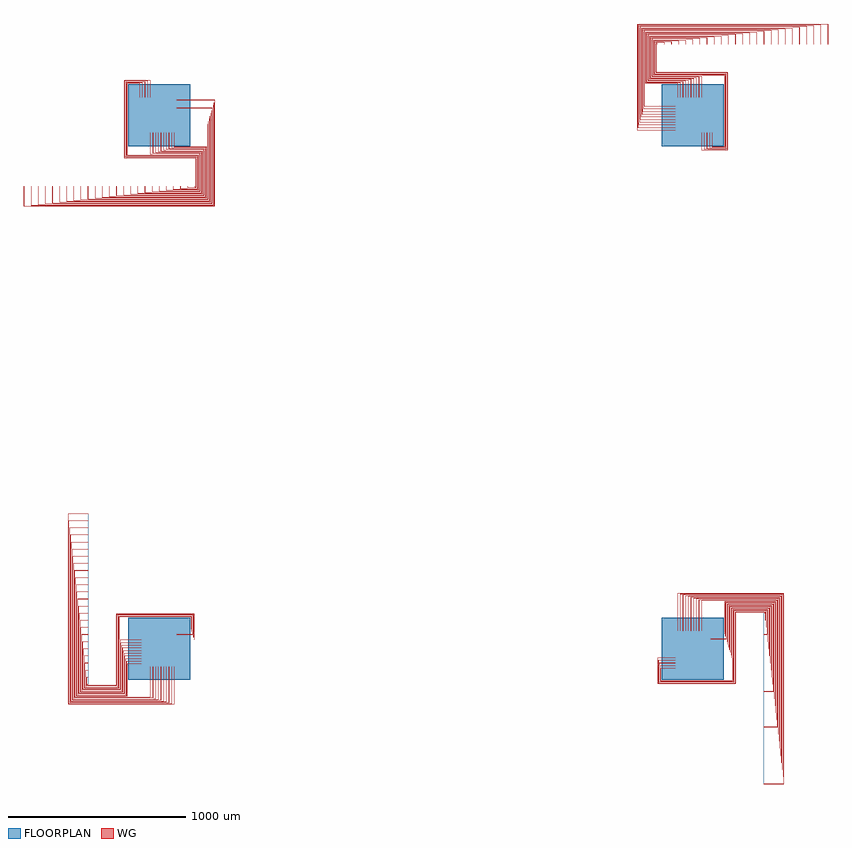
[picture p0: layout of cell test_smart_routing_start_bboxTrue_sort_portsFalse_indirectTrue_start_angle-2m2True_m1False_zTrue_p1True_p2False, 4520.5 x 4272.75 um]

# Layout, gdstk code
import gdstk
lib = gdstk.Library(unit=1e-6, precision=1e-09)
def R(c, l, rs):  # rectangles x0, y0, x1, y1
    for r in rs: c.add(gdstk.rectangle(r[:2], r[2:], *l))
def P(c, l, *ps):  # polygons
    for p in ps: c.add(gdstk.Polygon(p, *l))
WG = (1, 0)
FLOORPLAN = (10, 0)

test_smart_routing_start = lib.new_cell('test_smart_routing_start_bboxTrue_sort_portsFalse_indirectTrue_start_angle-2m2True_m1False_zTrue_p1True_p2False')
P(test_smart_routing_start, WG, [(3049.75,2802.5),(3049.75,2900),(3049.95,2900),(3049.95,2802.7),(3197.3,2802.7),(3197.3,3242.3),(2795.55,3242.3),(2795.55,3404.2),(2799.95,3404.2),(2799.95,3400),(2799.75,3400),(2799.75,3404),(2795.75,3404),(2795.75,3242.5),(3197.5,3242.5),(3197.5,2802.5)],
  [(3050.05,2802.8),(3050.05,2900),(3050.25,2900),(3050.25,2803),(3197,2803),(3197,3242),(2795.25,3242),(2795.25,3404.5),(2800.25,3404.5),(2800.25,3400),(2800.05,3400),(2800.05,3404.3),(2795.45,3404.3),(2795.45,3242.2),(3197.2,3242.2),(3197.2,2802.8)],
  [(3064.75,2807),(3064.75,2900),(3064.95,2900),(3064.95,2807.2),(3192.8,2807.2),(3192.8,3237.8),(2791.05,3237.8),(2791.05,3408.7),(2839.95,3408.7),(2839.95,3400),(2839.75,3400),(2839.75,3408.5),(2791.25,3408.5),(2791.25,3238),(3193,3238),(3193,2807)],
  [(3065.05,2807.3),(3065.05,2900),(3065.25,2900),(3065.25,2807.5),(3192.5,2807.5),(3192.5,3237.5),(2790.75,3237.5),(2790.75,3409),(2840.25,3409),(2840.25,3400),(2840.05,3400),(2840.05,3408.8),(2790.95,3408.8),(2790.95,3237.7),(3192.7,3237.7),(3192.7,2807.3)],
  [(3079.75,2811.5),(3079.75,2900),(3079.95,2900),(3079.95,2811.7),(3188.3,2811.7),(3188.3,3233.3),(2786.55,3233.3),(2786.55,3413.2),(2879.95,3413.2),(2879.95,3400),(2879.75,3400),(2879.75,3413),(2786.75,3413),(2786.75,3233.5),(3188.5,3233.5),(3188.5,2811.5)],
  [(3080.05,2811.8),(3080.05,2900),(3080.25,2900),(3080.25,2812),(3188,2812),(3188,3233),(2786.25,3233),(2786.25,3413.5),(2880.25,3413.5),(2880.25,3400),(2880.05,3400),(2880.05,3413.3),(2786.45,3413.3),(2786.45,3233.2),(3188.2,3233.2),(3188.2,2811.8)],
  [(3094.75,2816),(3094.75,2900),(3094.95,2900),(3094.95,2816.2),(3183.8,2816.2),(3183.8,3228.8),(2782.05,3228.8),(2782.05,3417.7),(2919.95,3417.7),(2919.95,3400),(2919.75,3400),(2919.75,3417.5),(2782.25,3417.5),(2782.25,3229),(3184,3229),(3184,2816)],
  [(3095.05,2816.3),(3095.05,2900),(3095.25,2900),(3095.25,2816.5),(3183.5,2816.5),(3183.5,3228.5),(2781.75,3228.5),(2781.75,3418),(2920.25,3418),(2920.25,3400),(2920.05,3400),(2920.05,3417.8),(2781.95,3417.8),(2781.95,3228.7),(3183.7,3228.7),(3183.7,2816.3)],
  [(3109.75,2820.5),(3109.75,2900),(3109.95,2900),(3109.95,2820.7),(3179.3,2820.7),(3179.3,3224.3),(2777.55,3224.3),(2777.55,3422.2),(2959.95,3422.2),(2959.95,3400),(2959.75,3400),(2959.75,3422),(2777.75,3422),(2777.75,3224.5),(3179.5,3224.5),(3179.5,2820.5)],
  [(3110.05,2820.8),(3110.05,2900),(3110.25,2900),(3110.25,2821),(3179,2821),(3179,3224),(2777.25,3224),(2777.25,3422.5),(2960.25,3422.5),(2960.25,3400),(2960.05,3400),(2960.05,3422.3),(2777.45,3422.3),(2777.45,3224.2),(3179.2,3224.2),(3179.2,2820.8)],
  [(3050.05,3100),(3050.05,3219.8),(2773.05,3219.8),(2773.05,3426.7),(2999.95,3426.7),(2999.95,3400),(2999.75,3400),(2999.75,3426.5),(2773.25,3426.5),(2773.25,3220),(3050.25,3220),(3050.25,3100)],
  [(3049.75,3100),(3049.75,3219.5),(2772.75,3219.5),(2772.75,3427),(3000.25,3427),(3000.25,3400),(3000.05,3400),(3000.05,3426.8),(2772.95,3426.8),(2772.95,3219.7),(3049.95,3219.7),(3049.95,3100)],
  [(3035.05,3100),(3035.05,3215.3),(2768.55,3215.3),(2768.55,3431.2),(3039.95,3431.2),(3039.95,3400),(3039.75,3400),(3039.75,3431),(2768.75,3431),(2768.75,3215.5),(3035.25,3215.5),(3035.25,3100)],
  [(3034.75,3100),(3034.75,3215),(2768.25,3215),(2768.25,3431.5),(3040.25,3431.5),(3040.25,3400),(3040.05,3400),(3040.05,3431.3),(2768.45,3431.3),(2768.45,3215.2),(3034.95,3215.2),(3034.95,3100)],
  [(3020.05,3100),(3020.05,3210.8),(2764.05,3210.8),(2764.05,3435.7),(3079.95,3435.7),(3079.95,3400),(3079.75,3400),(3079.75,3435.5),(2764.25,3435.5),(2764.25,3211),(3020.25,3211),(3020.25,3100)],
  [(3019.75,3100),(3019.75,3210.5),(2763.75,3210.5),(2763.75,3436),(3080.25,3436),(3080.25,3400),(3080.05,3400),(3080.05,3435.8),(2763.95,3435.8),(2763.95,3210.7),(3019.95,3210.7),(3019.95,3100)],
  [(3005.05,3100),(3005.05,3206.3),(2759.55,3206.3),(2759.55,3440.2),(3119.95,3440.2),(3119.95,3400),(3119.75,3400),(3119.75,3440),(2759.75,3440),(2759.75,3206.5),(3005.25,3206.5),(3005.25,3100)],
  [(3004.75,3100),(3004.75,3206),(2759.25,3206),(2759.25,3440.5),(3120.25,3440.5),(3120.25,3400),(3120.05,3400),(3120.05,3440.3),(2759.45,3440.3),(2759.45,3206.2),(3004.95,3206.2),(3004.95,3100)],
  [(2990.05,3100),(2990.05,3201.8),(2755.05,3201.8),(2755.05,3444.7),(3159.95,3444.7),(3159.95,3400),(3159.75,3400),(3159.75,3444.5),(2755.25,3444.5),(2755.25,3202),(2990.25,3202),(2990.25,3100)],
  [(2989.75,3100),(2989.75,3201.5),(2754.75,3201.5),(2754.75,3445),(3160.25,3445),(3160.25,3400),(3160.05,3400),(3160.05,3444.8),(2754.95,3444.8),(2754.95,3201.7),(2989.95,3201.7),(2989.95,3100)],
  [(2975.05,3100),(2975.05,3197.3),(2750.55,3197.3),(2750.55,3449.2),(3199.95,3449.2),(3199.95,3400),(3199.75,3400),(3199.75,3449),(2750.75,3449),(2750.75,3197.5),(2975.25,3197.5),(2975.25,3100)],
  [(2974.75,3100),(2974.75,3197),(2750.25,3197),(2750.25,3449.5),(3200.25,3449.5),(3200.25,3400),(3200.05,3400),(3200.05,3449.3),(2750.45,3449.3),(2750.45,3197.2),(2974.95,3197.2),(2974.95,3100)],
  [(2960.05,3100),(2960.05,3192.8),(2746.05,3192.8),(2746.05,3453.7),(3239.95,3453.7),(3239.95,3400),(3239.75,3400),(3239.75,3453.5),(2746.25,3453.5),(2746.25,3193),(2960.25,3193),(2960.25,3100)],
  [(2959.75,3100),(2959.75,3192.5),(2745.75,3192.5),(2745.75,3454),(3240.25,3454),(3240.25,3400),(3240.05,3400),(3240.05,3453.8),(2745.95,3453.8),(2745.95,3192.7),(2959.95,3192.7),(2959.95,3100)],
  [(2945.05,3100),(2945.05,3188.3),(2741.55,3188.3),(2741.55,3458.2),(3279.95,3458.2),(3279.95,3400),(3279.75,3400),(3279.75,3458),(2741.75,3458),(2741.75,3188.5),(2945.25,3188.5),(2945.25,3100)],
  [(2944.75,3100),(2944.75,3188),(2741.25,3188),(2741.25,3458.5),(3280.25,3458.5),(3280.25,3400),(3280.05,3400),(3280.05,3458.3),(2741.45,3458.3),(2741.45,3188.2),(2944.95,3188.2),(2944.95,3100)],
  [(2930.05,3100),(2930.05,3183.8),(2737.05,3183.8),(2737.05,3462.7),(3319.95,3462.7),(3319.95,3400),(3319.75,3400),(3319.75,3462.5),(2737.25,3462.5),(2737.25,3184),(2930.25,3184),(2930.25,3100)],
  [(2929.75,3100),(2929.75,3183.5),(2736.75,3183.5),(2736.75,3463),(3320.25,3463),(3320.25,3400),(3320.05,3400),(3320.05,3462.8),(2736.95,3462.8),(2736.95,3183.7),(2929.95,3183.7),(2929.95,3100)],
  [(2915.05,3100),(2915.05,3179.3),(2732.55,3179.3),(2732.55,3467.2),(3359.95,3467.2),(3359.95,3400),(3359.75,3400),(3359.75,3467),(2732.75,3467),(2732.75,3179.5),(2915.25,3179.5),(2915.25,3100)],
  [(2914.75,3100),(2914.75,3179),(2732.25,3179),(2732.25,3467.5),(3360.25,3467.5),(3360.25,3400),(3360.05,3400),(3360.05,3467.3),(2732.45,3467.3),(2732.45,3179.2),(2914.95,3179.2),(2914.95,3100)],
  [(2728.05,3050.05),(2728.05,3471.7),(3399.95,3471.7),(3399.95,3400),(3399.75,3400),(3399.75,3471.5),(2728.25,3471.5),(2728.25,3050.25),(2900,3050.25),(2900,3050.05)],
  [(2727.75,3049.75),(2727.75,3472),(3400.25,3472),(3400.25,3400),(3400.05,3400),(3400.05,3471.8),(2727.95,3471.8),(2727.95,3049.95),(2900,3049.95),(2900,3049.75)],
  [(2723.55,3035.05),(2723.55,3476.2),(3439.95,3476.2),(3439.95,3400),(3439.75,3400),(3439.75,3476),(2723.75,3476),(2723.75,3035.25),(2900,3035.25),(2900,3035.05)],
  [(2723.25,3034.75),(2723.25,3476.5),(3440.25,3476.5),(3440.25,3400),(3440.05,3400),(3440.05,3476.3),(2723.45,3476.3),(2723.45,3034.95),(2900,3034.95),(2900,3034.75)],
  [(2719.05,3020.05),(2719.05,3480.7),(3479.95,3480.7),(3479.95,3400),(3479.75,3400),(3479.75,3480.5),(2719.25,3480.5),(2719.25,3020.25),(2900,3020.25),(2900,3020.05)],
  [(2718.75,3019.75),(2718.75,3481),(3480.25,3481),(3480.25,3400),(3480.05,3400),(3480.05,3480.8),(2718.95,3480.8),(2718.95,3019.95),(2900,3019.95),(2900,3019.75)],
  [(2714.55,3005.05),(2714.55,3485.2),(3519.95,3485.2),(3519.95,3400),(3519.75,3400),(3519.75,3485),(2714.75,3485),(2714.75,3005.25),(2900,3005.25),(2900,3005.05)],
  [(2714.25,3004.75),(2714.25,3485.5),(3520.25,3485.5),(3520.25,3400),(3520.05,3400),(3520.05,3485.3),(2714.45,3485.3),(2714.45,3004.95),(2900,3004.95),(2900,3004.75)],
  [(2710.05,2990.05),(2710.05,3489.7),(3559.95,3489.7),(3559.95,3400),(3559.75,3400),(3559.75,3489.5),(2710.25,3489.5),(2710.25,2990.25),(2900,2990.25),(2900,2990.05)],
  [(2709.75,2989.75),(2709.75,3490),(3560.25,3490),(3560.25,3400),(3560.05,3400),(3560.05,3489.8),(2709.95,3489.8),(2709.95,2989.95),(2900,2989.95),(2900,2989.75)],
  [(2705.55,2975.05),(2705.55,3494.2),(3599.95,3494.2),(3599.95,3400),(3599.75,3400),(3599.75,3494),(2705.75,3494),(2705.75,2975.25),(2900,2975.25),(2900,2975.05)],
  [(2705.25,2974.75),(2705.25,3494.5),(3600.25,3494.5),(3600.25,3400),(3600.05,3400),(3600.05,3494.3),(2705.45,3494.3),(2705.45,2974.95),(2900,2974.95),(2900,2974.75)],
  [(2701.05,2960.05),(2701.05,3498.7),(3639.95,3498.7),(3639.95,3400),(3639.75,3400),(3639.75,3498.5),(2701.25,3498.5),(2701.25,2960.25),(2900,2960.25),(2900,2960.05)],
  [(2700.75,2959.75),(2700.75,3499),(3640.25,3499),(3640.25,3400),(3640.05,3400),(3640.05,3498.8),(2700.95,3498.8),(2700.95,2959.95),(2900,2959.95),(2900,2959.75)],
  [(2696.55,2945.05),(2696.55,3503.2),(3679.95,3503.2),(3679.95,3400),(3679.75,3400),(3679.75,3503),(2696.75,3503),(2696.75,2945.25),(2900,2945.25),(2900,2945.05)],
  [(2696.25,2944.75),(2696.25,3503.5),(3680.25,3503.5),(3680.25,3400),(3680.05,3400),(3680.05,3503.3),(2696.45,3503.3),(2696.45,2944.95),(2900,2944.95),(2900,2944.75)],
  [(2692.05,2930.05),(2692.05,3507.7),(3719.95,3507.7),(3719.95,3400),(3719.75,3400),(3719.75,3507.5),(2692.25,3507.5),(2692.25,2930.25),(2900,2930.25),(2900,2930.05)],
  [(2691.75,2929.75),(2691.75,3508),(3720.25,3508),(3720.25,3400),(3720.05,3400),(3720.05,3507.8),(2691.95,3507.8),(2691.95,2929.95),(2900,2929.95),(2900,2929.75)],
  [(2687.55,2915.05),(2687.55,3512.2),(3759.95,3512.2),(3759.95,3400),(3759.75,3400),(3759.75,3512),(2687.75,3512),(2687.75,2915.25),(2900,2915.25),(2900,2915.05)],
  [(2687.25,2914.75),(2687.25,3512.5),(3760.25,3512.5),(3760.25,3400),(3760.05,3400),(3760.05,3512.3),(2687.45,3512.3),(2687.45,2914.95),(2900,2914.95),(2900,2914.75)],
  [(199.75,2595.5),(199.75,2600),(199.95,2600),(199.95,2595.7),(204.55,2595.7),(204.55,2757.8),(-197.2,2757.8),(-197.2,3197.2),(-50.05,3197.2),(-50.05,3100),(-50.25,3100),(-50.25,3197),(-197,3197),(-197,2758),(204.75,2758),(204.75,2595.5)],
  [(200.05,2595.8),(200.05,2600),(200.25,2600),(200.25,2596),(204.25,2596),(204.25,2757.5),(-197.5,2757.5),(-197.5,3197.5),(-49.75,3197.5),(-49.75,3100),(-49.95,3100),(-49.95,3197.3),(-197.3,3197.3),(-197.3,2757.7),(204.45,2757.7),(204.45,2595.8)],
  [(159.75,2591),(159.75,2600),(159.95,2600),(159.95,2591.2),(209.05,2591.2),(209.05,2762.3),(-192.7,2762.3),(-192.7,3192.7),(-65.05,3192.7),(-65.05,3100),(-65.25,3100),(-65.25,3192.5),(-192.5,3192.5),(-192.5,2762.5),(209.25,2762.5),(209.25,2591)],
  [(160.05,2591.3),(160.05,2600),(160.25,2600),(160.25,2591.5),(208.75,2591.5),(208.75,2762),(-193,2762),(-193,3193),(-64.75,3193),(-64.75,3100),(-64.95,3100),(-64.95,3192.8),(-192.8,3192.8),(-192.8,2762.2),(208.95,2762.2),(208.95,2591.3)],
  [(119.75,2586.5),(119.75,2600),(119.95,2600),(119.95,2586.7),(213.55,2586.7),(213.55,2766.8),(-188.2,2766.8),(-188.2,3188.2),(-80.05,3188.2),(-80.05,3100),(-80.25,3100),(-80.25,3188),(-188,3188),(-188,2767),(213.75,2767),(213.75,2586.5)],
  [(120.05,2586.8),(120.05,2600),(120.25,2600),(120.25,2587),(213.25,2587),(213.25,2766.5),(-188.5,2766.5),(-188.5,3188.5),(-79.75,3188.5),(-79.75,3100),(-79.95,3100),(-79.95,3188.3),(-188.3,3188.3),(-188.3,2766.7),(213.45,2766.7),(213.45,2586.8)],
  [(79.75,2582),(79.75,2600),(79.95,2600),(79.95,2582.2),(218.05,2582.2),(218.05,2771.3),(-183.7,2771.3),(-183.7,3183.7),(-95.05,3183.7),(-95.05,3100),(-95.25,3100),(-95.25,3183.5),(-183.5,3183.5),(-183.5,2771.5),(218.25,2771.5),(218.25,2582)],
  [(80.05,2582.3),(80.05,2600),(80.25,2600),(80.25,2582.5),(217.75,2582.5),(217.75,2771),(-184,2771),(-184,3184),(-94.75,3184),(-94.75,3100),(-94.95,3100),(-94.95,3183.8),(-183.8,3183.8),(-183.8,2771.2),(217.95,2771.2),(217.95,2582.3)],
  [(39.75,2577.5),(39.75,2600),(39.95,2600),(39.95,2577.7),(222.55,2577.7),(222.55,2775.8),(-179.2,2775.8),(-179.2,3179.2),(-110.05,3179.2),(-110.05,3100),(-110.25,3100),(-110.25,3179),(-179,3179),(-179,2776),(222.75,2776),(222.75,2577.5)],
  [(40.05,2577.8),(40.05,2600),(40.25,2600),(40.25,2578),(222.25,2578),(222.25,2775.5),(-179.5,2775.5),(-179.5,3179.5),(-109.75,3179.5),(-109.75,3100),(-109.95,3100),(-109.95,3179.3),(-179.3,3179.3),(-179.3,2775.7),(222.45,2775.7),(222.45,2577.8)],
  [(0.05,2573.3),(0.05,2600),(0.25,2600),(0.25,2573.5),(226.75,2573.5),(226.75,2780),(-50.25,2780),(-50.25,2900),(-50.05,2900),(-50.05,2780.2),(226.95,2780.2),(226.95,2573.3)],
  [(-0.25,2573),(-0.25,2600),(-0.05,2600),(-0.05,2573.2),(227.05,2573.2),(227.05,2780.3),(-49.95,2780.3),(-49.95,2900),(-49.75,2900),(-49.75,2780.5),(227.25,2780.5),(227.25,2573)],
  [(-39.95,2568.8),(-39.95,2600),(-39.75,2600),(-39.75,2569),(231.25,2569),(231.25,2784.5),(-35.25,2784.5),(-35.25,2900),(-35.05,2900),(-35.05,2784.7),(231.45,2784.7),(231.45,2568.8)],
  [(-40.25,2568.5),(-40.25,2600),(-40.05,2600),(-40.05,2568.7),(231.55,2568.7),(231.55,2784.8),(-34.95,2784.8),(-34.95,2900),(-34.75,2900),(-34.75,2785),(231.75,2785),(231.75,2568.5)],
  [(-79.95,2564.3),(-79.95,2600),(-79.75,2600),(-79.75,2564.5),(235.75,2564.5),(235.75,2789),(-20.25,2789),(-20.25,2900),(-20.05,2900),(-20.05,2789.2),(235.95,2789.2),(235.95,2564.3)],
  [(-80.25,2564),(-80.25,2600),(-80.05,2600),(-80.05,2564.2),(236.05,2564.2),(236.05,2789.3),(-19.95,2789.3),(-19.95,2900),(-19.75,2900),(-19.75,2789.5),(236.25,2789.5),(236.25,2564)],
  [(-119.95,2559.8),(-119.95,2600),(-119.75,2600),(-119.75,2560),(240.25,2560),(240.25,2793.5),(-5.25,2793.5),(-5.25,2900),(-5.05,2900),(-5.05,2793.7),(240.45,2793.7),(240.45,2559.8)],
  [(-120.25,2559.5),(-120.25,2600),(-120.05,2600),(-120.05,2559.7),(240.55,2559.7),(240.55,2793.8),(-4.95,2793.8),(-4.95,2900),(-4.75,2900),(-4.75,2794),(240.75,2794),(240.75,2559.5)],
  [(-159.95,2555.3),(-159.95,2600),(-159.75,2600),(-159.75,2555.5),(244.75,2555.5),(244.75,2798),(9.75,2798),(9.75,2900),(9.95,2900),(9.95,2798.2),(244.95,2798.2),(244.95,2555.3)],
  [(-160.25,2555),(-160.25,2600),(-160.05,2600),(-160.05,2555.2),(245.05,2555.2),(245.05,2798.3),(10.05,2798.3),(10.05,2900),(10.25,2900),(10.25,2798.5),(245.25,2798.5),(245.25,2555)],
  [(-199.95,2550.8),(-199.95,2600),(-199.75,2600),(-199.75,2551),(249.25,2551),(249.25,2802.5),(24.75,2802.5),(24.75,2900),(24.95,2900),(24.95,2802.7),(249.45,2802.7),(249.45,2550.8)],
  [(-200.25,2550.5),(-200.25,2600),(-200.05,2600),(-200.05,2550.7),(249.55,2550.7),(249.55,2802.8),(25.05,2802.8),(25.05,2900),(25.25,2900),(25.25,2803),(249.75,2803),(249.75,2550.5)],
  [(-239.95,2546.3),(-239.95,2600),(-239.75,2600),(-239.75,2546.5),(253.75,2546.5),(253.75,2807),(39.75,2807),(39.75,2900),(39.95,2900),(39.95,2807.2),(253.95,2807.2),(253.95,2546.3)],
  [(-240.25,2546),(-240.25,2600),(-240.05,2600),(-240.05,2546.2),(254.05,2546.2),(254.05,2807.3),(40.05,2807.3),(40.05,2900),(40.25,2900),(40.25,2807.5),(254.25,2807.5),(254.25,2546)],
  [(-279.95,2541.8),(-279.95,2600),(-279.75,2600),(-279.75,2542),(258.25,2542),(258.25,2811.5),(54.75,2811.5),(54.75,2900),(54.95,2900),(54.95,2811.7),(258.45,2811.7),(258.45,2541.8)],
  [(-280.25,2541.5),(-280.25,2600),(-280.05,2600),(-280.05,2541.7),(258.55,2541.7),(258.55,2811.8),(55.05,2811.8),(55.05,2900),(55.25,2900),(55.25,2812),(258.75,2812),(258.75,2541.5)],
  [(-319.95,2537.3),(-319.95,2600),(-319.75,2600),(-319.75,2537.5),(262.75,2537.5),(262.75,2816),(69.75,2816),(69.75,2900),(69.95,2900),(69.95,2816.2),(262.95,2816.2),(262.95,2537.3)],
  [(-320.25,2537),(-320.25,2600),(-320.05,2600),(-320.05,2537.2),(263.05,2537.2),(263.05,2816.3),(70.05,2816.3),(70.05,2900),(70.25,2900),(70.25,2816.5),(263.25,2816.5),(263.25,2537)],
  [(-359.95,2532.8),(-359.95,2600),(-359.75,2600),(-359.75,2533),(267.25,2533),(267.25,2820.5),(84.75,2820.5),(84.75,2900),(84.95,2900),(84.95,2820.7),(267.45,2820.7),(267.45,2532.8)],
  [(-360.25,2532.5),(-360.25,2600),(-360.05,2600),(-360.05,2532.7),(267.55,2532.7),(267.55,2820.8),(85.05,2820.8),(85.05,2900),(85.25,2900),(85.25,2821),(267.75,2821),(267.75,2532.5)],
  [(-399.95,2528.3),(-399.95,2600),(-399.75,2600),(-399.75,2528.5),(271.75,2528.5),(271.75,2949.75),(100,2949.75),(100,2949.95),(271.95,2949.95),(271.95,2528.3)],
  [(-400.25,2528),(-400.25,2600),(-400.05,2600),(-400.05,2528.2),(272.05,2528.2),(272.05,2950.05),(100,2950.05),(100,2950.25),(272.25,2950.25),(272.25,2528)],
  [(-439.95,2523.8),(-439.95,2600),(-439.75,2600),(-439.75,2524),(276.25,2524),(276.25,2964.75),(100,2964.75),(100,2964.95),(276.45,2964.95),(276.45,2523.8)],
  [(-440.25,2523.5),(-440.25,2600),(-440.05,2600),(-440.05,2523.7),(276.55,2523.7),(276.55,2965.05),(100,2965.05),(100,2965.25),(276.75,2965.25),(276.75,2523.5)],
  [(-479.95,2519.3),(-479.95,2600),(-479.75,2600),(-479.75,2519.5),(280.75,2519.5),(280.75,2979.75),(100,2979.75),(100,2979.95),(280.95,2979.95),(280.95,2519.3)],
  [(-480.25,2519),(-480.25,2600),(-480.05,2600),(-480.05,2519.2),(281.05,2519.2),(281.05,2980.05),(100,2980.05),(100,2980.25),(281.25,2980.25),(281.25,2519)],
  [(-519.95,2514.8),(-519.95,2600),(-519.75,2600),(-519.75,2515),(285.25,2515),(285.25,2994.75),(100,2994.75),(100,2994.95),(285.45,2994.95),(285.45,2514.8)],
  [(-520.25,2514.5),(-520.25,2600),(-520.05,2600),(-520.05,2514.7),(285.55,2514.7),(285.55,2995.05),(100,2995.05),(100,2995.25),(285.75,2995.25),(285.75,2514.5)],
  [(-559.95,2510.3),(-559.95,2600),(-559.75,2600),(-559.75,2510.5),(289.75,2510.5),(289.75,3009.75),(100,3009.75),(100,3009.95),(289.95,3009.95),(289.95,2510.3)],
  [(-560.25,2510),(-560.25,2600),(-560.05,2600),(-560.05,2510.2),(290.05,2510.2),(290.05,3010.05),(100,3010.05),(100,3010.25),(290.25,3010.25),(290.25,2510)],
  [(-599.95,2505.8),(-599.95,2600),(-599.75,2600),(-599.75,2506),(294.25,2506),(294.25,3024.75),(100,3024.75),(100,3024.95),(294.45,3024.95),(294.45,2505.8)],
  [(-600.25,2505.5),(-600.25,2600),(-600.05,2600),(-600.05,2505.7),(294.55,2505.7),(294.55,3025.05),(100,3025.05),(100,3025.25),(294.75,3025.25),(294.75,2505.5)],
  [(-639.95,2501.3),(-639.95,2600),(-639.75,2600),(-639.75,2501.5),(298.75,2501.5),(298.75,3039.75),(100,3039.75),(100,3039.95),(298.95,3039.95),(298.95,2501.3)],
  [(-640.25,2501),(-640.25,2600),(-640.05,2600),(-640.05,2501.2),(299.05,2501.2),(299.05,3040.05),(100,3040.05),(100,3040.25),(299.25,3040.25),(299.25,2501)],
  [(-679.95,2496.8),(-679.95,2600),(-679.75,2600),(-679.75,2497),(303.25,2497),(303.25,3054.75),(100,3054.75),(100,3054.95),(303.45,3054.95),(303.45,2496.8)],
  [(-680.25,2496.5),(-680.25,2600),(-680.05,2600),(-680.05,2496.7),(303.55,2496.7),(303.55,3055.05),(100,3055.05),(100,3055.25),(303.75,3055.25),(303.75,2496.5)],
  [(-719.95,2492.3),(-719.95,2600),(-719.75,2600),(-719.75,2492.5),(307.75,2492.5),(307.75,3069.75),(100,3069.75),(100,3069.95),(307.95,3069.95),(307.95,2492.3)],
  [(-720.25,2492),(-720.25,2600),(-720.05,2600),(-720.05,2492.2),(308.05,2492.2),(308.05,3070.05),(100,3070.05),(100,3070.25),(308.25,3070.25),(308.25,2492)],
  [(-759.95,2487.8),(-759.95,2600),(-759.75,2600),(-759.75,2488),(312.25,2488),(312.25,3084.75),(100,3084.75),(100,3084.95),(312.45,3084.95),(312.45,2487.8)],
  [(-760.25,2487.5),(-760.25,2600),(-760.05,2600),(-760.05,2487.7),(312.55,2487.7),(312.55,3085.05),(100,3085.05),(100,3085.25),(312.75,3085.25),(312.75,2487.5)],
  [(-404.5,-204.75),(-404.5,-199.75),(-400,-199.75),(-400,-199.95),(-404.3,-199.95),(-404.3,-204.55),(-242.2,-204.55),(-242.2,197.2),(197.2,197.2),(197.2,50.05),(100,50.05),(100,50.25),(197,50.25),(197,197),(-242,197),(-242,-204.75)],
  [(-404.2,-204.45),(-404.2,-200.05),(-400,-200.05),(-400,-200.25),(-404,-200.25),(-404,-204.25),(-242.5,-204.25),(-242.5,197.5),(197.5,197.5),(197.5,49.75),(100,49.75),(100,49.95),(197.3,49.95),(197.3,197.3),(-242.3,197.3),(-242.3,-204.45)],
  [(-409,-209.25),(-409,-159.75),(-400,-159.75),(-400,-159.95),(-408.8,-159.95),(-408.8,-209.05),(-237.7,-209.05),(-237.7,192.7),(192.7,192.7),(192.7,65.05),(100,65.05),(100,65.25),(192.5,65.25),(192.5,192.5),(-237.5,192.5),(-237.5,-209.25)],
  [(-408.7,-208.95),(-408.7,-160.05),(-400,-160.05),(-400,-160.25),(-408.5,-160.25),(-408.5,-208.75),(-238,-208.75),(-238,193),(193,193),(193,64.75),(100,64.75),(100,64.95),(192.8,64.95),(192.8,192.8),(-237.8,192.8),(-237.8,-208.95)],
  [(-413.5,-213.75),(-413.5,-119.75),(-400,-119.75),(-400,-119.95),(-413.3,-119.95),(-413.3,-213.55),(-233.2,-213.55),(-233.2,188.2),(188.2,188.2),(188.2,80.05),(100,80.05),(100,80.25),(188,80.25),(188,188),(-233,188),(-233,-213.75)],
  [(-413.2,-213.45),(-413.2,-120.05),(-400,-120.05),(-400,-120.25),(-413,-120.25),(-413,-213.25),(-233.5,-213.25),(-233.5,188.5),(188.5,188.5),(188.5,79.75),(100,79.75),(100,79.95),(188.3,79.95),(188.3,188.3),(-233.3,188.3),(-233.3,-213.45)],
  [(-418,-218.25),(-418,-79.75),(-400,-79.75),(-400,-79.95),(-417.8,-79.95),(-417.8,-218.05),(-228.7,-218.05),(-228.7,183.7),(183.7,183.7),(183.7,95.05),(100,95.05),(100,95.25),(183.5,95.25),(183.5,183.5),(-228.5,183.5),(-228.5,-218.25)],
  [(-417.7,-217.95),(-417.7,-80.05),(-400,-80.05),(-400,-80.25),(-417.5,-80.25),(-417.5,-217.75),(-229,-217.75),(-229,184),(184,184),(184,94.75),(100,94.75),(100,94.95),(183.8,94.95),(183.8,183.8),(-228.8,183.8),(-228.8,-217.95)],
  [(-422.5,-222.75),(-422.5,-39.75),(-400,-39.75),(-400,-39.95),(-422.3,-39.95),(-422.3,-222.55),(-224.2,-222.55),(-224.2,179.2),(179.2,179.2),(179.2,110.05),(100,110.05),(100,110.25),(179,110.25),(179,179),(-224,179),(-224,-222.75)],
  [(-422.2,-222.45),(-422.2,-40.05),(-400,-40.05),(-400,-40.25),(-422,-40.25),(-422,-222.25),(-224.5,-222.25),(-224.5,179.5),(179.5,179.5),(179.5,109.75),(100,109.75),(100,109.95),(179.3,109.95),(179.3,179.3),(-224.3,179.3),(-224.3,-222.45)],
  [(-427,-227.25),(-427,0.25),(-400,0.25),(-400,0.05),(-426.8,0.05),(-426.8,-227.05),(-219.7,-227.05),(-219.7,49.95),(-100,49.95),(-100,49.75),(-219.5,49.75),(-219.5,-227.25)],
  [(-426.7,-226.95),(-426.7,-0.05),(-400,-0.05),(-400,-0.25),(-426.5,-0.25),(-426.5,-226.75),(-220,-226.75),(-220,50.25),(-100,50.25),(-100,50.05),(-219.8,50.05),(-219.8,-226.95)],
  [(-431.2,-231.45),(-431.2,39.95),(-400,39.95),(-400,39.75),(-431,39.75),(-431,-231.25),(-215.5,-231.25),(-215.5,35.25),(-100,35.25),(-100,35.05),(-215.3,35.05),(-215.3,-231.45)],
  [(-431.5,-231.75),(-431.5,40.25),(-400,40.25),(-400,40.05),(-431.3,40.05),(-431.3,-231.55),(-215.2,-231.55),(-215.2,34.95),(-100,34.95),(-100,34.75),(-215,34.75),(-215,-231.75)],
  [(-435.7,-235.95),(-435.7,79.95),(-400,79.95),(-400,79.75),(-435.5,79.75),(-435.5,-235.75),(-211,-235.75),(-211,20.25),(-100,20.25),(-100,20.05),(-210.8,20.05),(-210.8,-235.95)],
  [(-436,-236.25),(-436,80.25),(-400,80.25),(-400,80.05),(-435.8,80.05),(-435.8,-236.05),(-210.7,-236.05),(-210.7,19.95),(-100,19.95),(-100,19.75),(-210.5,19.75),(-210.5,-236.25)],
  [(-440.2,-240.45),(-440.2,119.95),(-400,119.95),(-400,119.75),(-440,119.75),(-440,-240.25),(-206.5,-240.25),(-206.5,5.25),(-100,5.25),(-100,5.05),(-206.3,5.05),(-206.3,-240.45)],
  [(-440.5,-240.75),(-440.5,120.25),(-400,120.25),(-400,120.05),(-440.3,120.05),(-440.3,-240.55),(-206.2,-240.55),(-206.2,4.95),(-100,4.95),(-100,4.75),(-206,4.75),(-206,-240.75)],
  [(-444.7,-244.95),(-444.7,159.95),(-400,159.95),(-400,159.75),(-444.5,159.75),(-444.5,-244.75),(-202,-244.75),(-202,-9.75),(-100,-9.75),(-100,-9.95),(-201.8,-9.95),(-201.8,-244.95)],
  [(-445,-245.25),(-445,160.25),(-400,160.25),(-400,160.05),(-444.8,160.05),(-444.8,-245.05),(-201.7,-245.05),(-201.7,-10.05),(-100,-10.05),(-100,-10.25),(-201.5,-10.25),(-201.5,-245.25)],
  [(-449.2,-249.45),(-449.2,199.95),(-400,199.95),(-400,199.75),(-449,199.75),(-449,-249.25),(-197.5,-249.25),(-197.5,-24.75),(-100,-24.75),(-100,-24.95),(-197.3,-24.95),(-197.3,-249.45)],
  [(-449.5,-249.75),(-449.5,200.25),(-400,200.25),(-400,200.05),(-449.3,200.05),(-449.3,-249.55),(-197.2,-249.55),(-197.2,-25.05),(-100,-25.05),(-100,-25.25),(-197,-25.25),(-197,-249.75)],
  [(-453.7,-253.95),(-453.7,239.95),(-400,239.95),(-400,239.75),(-453.5,239.75),(-453.5,-253.75),(-193,-253.75),(-193,-39.75),(-100,-39.75),(-100,-39.95),(-192.8,-39.95),(-192.8,-253.95)],
  [(-454,-254.25),(-454,240.25),(-400,240.25),(-400,240.05),(-453.8,240.05),(-453.8,-254.05),(-192.7,-254.05),(-192.7,-40.05),(-100,-40.05),(-100,-40.25),(-192.5,-40.25),(-192.5,-254.25)],
  [(-458.2,-258.45),(-458.2,279.95),(-400,279.95),(-400,279.75),(-458,279.75),(-458,-258.25),(-188.5,-258.25),(-188.5,-54.75),(-100,-54.75),(-100,-54.95),(-188.3,-54.95),(-188.3,-258.45)],
  [(-458.5,-258.75),(-458.5,280.25),(-400,280.25),(-400,280.05),(-458.3,280.05),(-458.3,-258.55),(-188.2,-258.55),(-188.2,-55.05),(-100,-55.05),(-100,-55.25),(-188,-55.25),(-188,-258.75)],
  [(-462.7,-262.95),(-462.7,319.95),(-400,319.95),(-400,319.75),(-462.5,319.75),(-462.5,-262.75),(-184,-262.75),(-184,-69.75),(-100,-69.75),(-100,-69.95),(-183.8,-69.95),(-183.8,-262.95)],
  [(-463,-263.25),(-463,320.25),(-400,320.25),(-400,320.05),(-462.8,320.05),(-462.8,-263.05),(-183.7,-263.05),(-183.7,-70.05),(-100,-70.05),(-100,-70.25),(-183.5,-70.25),(-183.5,-263.25)],
  [(-467.2,-267.45),(-467.2,359.95),(-400,359.95),(-400,359.75),(-467,359.75),(-467,-267.25),(-179.5,-267.25),(-179.5,-84.75),(-100,-84.75),(-100,-84.95),(-179.3,-84.95),(-179.3,-267.45)],
  [(-467.5,-267.75),(-467.5,360.25),(-400,360.25),(-400,360.05),(-467.3,360.05),(-467.3,-267.55),(-179.2,-267.55),(-179.2,-85.05),(-100,-85.05),(-100,-85.25),(-179,-85.25),(-179,-267.75)],
  [(-471.7,-271.95),(-471.7,399.95),(-400,399.95),(-400,399.75),(-471.5,399.75),(-471.5,-271.75),(-50.25,-271.75),(-50.25,-100),(-50.05,-100),(-50.05,-271.95)],
  [(-472,-272.25),(-472,400.25),(-400,400.25),(-400,400.05),(-471.8,400.05),(-471.8,-272.05),(-49.95,-272.05),(-49.95,-100),(-49.75,-100),(-49.75,-272.25)],
  [(-476.2,-276.45),(-476.2,439.95),(-400,439.95),(-400,439.75),(-476,439.75),(-476,-276.25),(-35.25,-276.25),(-35.25,-100),(-35.05,-100),(-35.05,-276.45)],
  [(-476.5,-276.75),(-476.5,440.25),(-400,440.25),(-400,440.05),(-476.3,440.05),(-476.3,-276.55),(-34.95,-276.55),(-34.95,-100),(-34.75,-100),(-34.75,-276.75)],
  [(-480.7,-280.95),(-480.7,479.95),(-400,479.95),(-400,479.75),(-480.5,479.75),(-480.5,-280.75),(-20.25,-280.75),(-20.25,-100),(-20.05,-100),(-20.05,-280.95)],
  [(-481,-281.25),(-481,480.25),(-400,480.25),(-400,480.05),(-480.8,480.05),(-480.8,-281.05),(-19.95,-281.05),(-19.95,-100),(-19.75,-100),(-19.75,-281.25)],
  [(-485.2,-285.45),(-485.2,519.95),(-400,519.95),(-400,519.75),(-485,519.75),(-485,-285.25),(-5.25,-285.25),(-5.25,-100),(-5.05,-100),(-5.05,-285.45)],
  [(-485.5,-285.75),(-485.5,520.25),(-400,520.25),(-400,520.05),(-485.3,520.05),(-485.3,-285.55),(-4.95,-285.55),(-4.95,-100),(-4.75,-100),(-4.75,-285.75)],
  [(-489.7,-289.95),(-489.7,559.95),(-400,559.95),(-400,559.75),(-489.5,559.75),(-489.5,-289.75),(9.75,-289.75),(9.75,-100),(9.95,-100),(9.95,-289.95)],
  [(-490,-290.25),(-490,560.25),(-400,560.25),(-400,560.05),(-489.8,560.05),(-489.8,-290.05),(10.05,-290.05),(10.05,-100),(10.25,-100),(10.25,-290.25)],
  [(-494.2,-294.45),(-494.2,599.95),(-400,599.95),(-400,599.75),(-494,599.75),(-494,-294.25),(24.75,-294.25),(24.75,-100),(24.95,-100),(24.95,-294.45)],
  [(-494.5,-294.75),(-494.5,600.25),(-400,600.25),(-400,600.05),(-494.3,600.05),(-494.3,-294.55),(25.05,-294.55),(25.05,-100),(25.25,-100),(25.25,-294.75)],
  [(-498.7,-298.95),(-498.7,639.95),(-400,639.95),(-400,639.75),(-498.5,639.75),(-498.5,-298.75),(39.75,-298.75),(39.75,-100),(39.95,-100),(39.95,-298.95)],
  [(-499,-299.25),(-499,640.25),(-400,640.25),(-400,640.05),(-498.8,640.05),(-498.8,-299.05),(40.05,-299.05),(40.05,-100),(40.25,-100),(40.25,-299.25)],
  [(-503.2,-303.45),(-503.2,679.95),(-400,679.95),(-400,679.75),(-503,679.75),(-503,-303.25),(54.75,-303.25),(54.75,-100),(54.95,-100),(54.95,-303.45)],
  [(-503.5,-303.75),(-503.5,680.25),(-400,680.25),(-400,680.05),(-503.3,680.05),(-503.3,-303.55),(55.05,-303.55),(55.05,-100),(55.25,-100),(55.25,-303.75)],
  [(-507.7,-307.95),(-507.7,719.95),(-400,719.95),(-400,719.75),(-507.5,719.75),(-507.5,-307.75),(69.75,-307.75),(69.75,-100),(69.95,-100),(69.95,-307.95)],
  [(-508,-308.25),(-508,720.25),(-400,720.25),(-400,720.05),(-507.8,720.05),(-507.8,-308.05),(70.05,-308.05),(70.05,-100),(70.25,-100),(70.25,-308.25)],
  [(-512.2,-312.45),(-512.2,759.95),(-400,759.95),(-400,759.75),(-512,759.75),(-512,-312.25),(84.75,-312.25),(84.75,-100),(84.95,-100),(84.95,-312.45)],
  [(-512.5,-312.75),(-512.5,760.25),(-400,760.25),(-400,760.05),(-512.3,760.05),(-512.3,-312.55),(85.05,-312.55),(85.05,-100),(85.25,-100),(85.25,-312.75)],
  [(2802.5,-197.5),(2802.5,-49.75),(2900,-49.75),(2900,-49.95),(2802.7,-49.95),(2802.7,-197.3),(3242.3,-197.3),(3242.3,204.45),(3404.2,204.45),(3404.2,200.05),(3400,200.05),(3400,200.25),(3404,200.25),(3404,204.25),(3242.5,204.25),(3242.5,-197.5)],
  [(2802.8,-197.2),(2802.8,-50.05),(2900,-50.05),(2900,-50.25),(2803,-50.25),(2803,-197),(3242,-197),(3242,204.75),(3404.5,204.75),(3404.5,199.75),(3400,199.75),(3400,199.95),(3404.3,199.95),(3404.3,204.55),(3242.2,204.55),(3242.2,-197.2)],
  [(2807,-193),(2807,-64.75),(2900,-64.75),(2900,-64.95),(2807.2,-64.95),(2807.2,-192.8),(3237.8,-192.8),(3237.8,208.95),(3408.7,208.95),(3408.7,160.05),(3400,160.05),(3400,160.25),(3408.5,160.25),(3408.5,208.75),(3238,208.75),(3238,-193)],
  [(2807.3,-192.7),(2807.3,-65.05),(2900,-65.05),(2900,-65.25),(2807.5,-65.25),(2807.5,-192.5),(3237.5,-192.5),(3237.5,209.25),(3409,209.25),(3409,159.75),(3400,159.75),(3400,159.95),(3408.8,159.95),(3408.8,209.05),(3237.7,209.05),(3237.7,-192.7)],
  [(2811.5,-188.5),(2811.5,-79.75),(2900,-79.75),(2900,-79.95),(2811.7,-79.95),(2811.7,-188.3),(3233.3,-188.3),(3233.3,213.45),(3413.2,213.45),(3413.2,120.05),(3400,120.05),(3400,120.25),(3413,120.25),(3413,213.25),(3233.5,213.25),(3233.5,-188.5)],
  [(2811.8,-188.2),(2811.8,-80.05),(2900,-80.05),(2900,-80.25),(2812,-80.25),(2812,-188),(3233,-188),(3233,213.75),(3413.5,213.75),(3413.5,119.75),(3400,119.75),(3400,119.95),(3413.3,119.95),(3413.3,213.55),(3233.2,213.55),(3233.2,-188.2)],
  [(2816,-184),(2816,-94.75),(2900,-94.75),(2900,-94.95),(2816.2,-94.95),(2816.2,-183.8),(3228.8,-183.8),(3228.8,217.95),(3417.7,217.95),(3417.7,80.05),(3400,80.05),(3400,80.25),(3417.5,80.25),(3417.5,217.75),(3229,217.75),(3229,-184)],
  [(2816.3,-183.7),(2816.3,-95.05),(2900,-95.05),(2900,-95.25),(2816.5,-95.25),(2816.5,-183.5),(3228.5,-183.5),(3228.5,218.25),(3418,218.25),(3418,79.75),(3400,79.75),(3400,79.95),(3417.8,79.95),(3417.8,218.05),(3228.7,218.05),(3228.7,-183.7)],
  [(2820.5,-179.5),(2820.5,-109.75),(2900,-109.75),(2900,-109.95),(2820.7,-109.95),(2820.7,-179.3),(3224.3,-179.3),(3224.3,222.45),(3422.2,222.45),(3422.2,40.05),(3400,40.05),(3400,40.25),(3422,40.25),(3422,222.25),(3224.5,222.25),(3224.5,-179.5)],
  [(2820.8,-179.2),(2820.8,-110.05),(2900,-110.05),(2900,-110.25),(2821,-110.25),(2821,-179),(3224,-179),(3224,222.75),(3422.5,222.75),(3422.5,39.75),(3400,39.75),(3400,39.95),(3422.3,39.95),(3422.3,222.55),(3224.2,222.55),(3224.2,-179.2)],
  [(3100,-50.25),(3100,-50.05),(3219.8,-50.05),(3219.8,226.95),(3426.7,226.95),(3426.7,0.05),(3400,0.05),(3400,0.25),(3426.5,0.25),(3426.5,226.75),(3220,226.75),(3220,-50.25)],
  [(3100,-49.95),(3100,-49.75),(3219.5,-49.75),(3219.5,227.25),(3427,227.25),(3427,-0.25),(3400,-0.25),(3400,-0.05),(3426.8,-0.05),(3426.8,227.05),(3219.7,227.05),(3219.7,-49.95)],
  [(3400,-39.95),(3400,-39.75),(3431,-39.75),(3431,231.25),(3215.5,231.25),(3215.5,-35.25),(3100,-35.25),(3100,-35.05),(3215.3,-35.05),(3215.3,231.45),(3431.2,231.45),(3431.2,-39.95)],
  [(3400,-40.25),(3400,-40.05),(3431.3,-40.05),(3431.3,231.55),(3215.2,231.55),(3215.2,-34.95),(3100,-34.95),(3100,-34.75),(3215,-34.75),(3215,231.75),(3431.5,231.75),(3431.5,-40.25)],
  [(3400,-79.95),(3400,-79.75),(3435.5,-79.75),(3435.5,235.75),(3211,235.75),(3211,-20.25),(3100,-20.25),(3100,-20.05),(3210.8,-20.05),(3210.8,235.95),(3435.7,235.95),(3435.7,-79.95)],
  [(3400,-80.25),(3400,-80.05),(3435.8,-80.05),(3435.8,236.05),(3210.7,236.05),(3210.7,-19.95),(3100,-19.95),(3100,-19.75),(3210.5,-19.75),(3210.5,236.25),(3436,236.25),(3436,-80.25)],
  [(3400,-119.95),(3400,-119.75),(3440,-119.75),(3440,240.25),(3206.5,240.25),(3206.5,-5.25),(3100,-5.25),(3100,-5.05),(3206.3,-5.05),(3206.3,240.45),(3440.2,240.45),(3440.2,-119.95)],
  [(3400,-120.25),(3400,-120.05),(3440.3,-120.05),(3440.3,240.55),(3206.2,240.55),(3206.2,-4.95),(3100,-4.95),(3100,-4.75),(3206,-4.75),(3206,240.75),(3440.5,240.75),(3440.5,-120.25)],
  [(3400,-159.95),(3400,-159.75),(3444.5,-159.75),(3444.5,244.75),(3202,244.75),(3202,9.75),(3100,9.75),(3100,9.95),(3201.8,9.95),(3201.8,244.95),(3444.7,244.95),(3444.7,-159.95)],
  [(3400,-160.25),(3400,-160.05),(3444.8,-160.05),(3444.8,245.05),(3201.7,245.05),(3201.7,10.05),(3100,10.05),(3100,10.25),(3201.5,10.25),(3201.5,245.25),(3445,245.25),(3445,-160.25)],
  [(3400,-199.95),(3400,-199.75),(3449,-199.75),(3449,249.25),(3197.5,249.25),(3197.5,24.75),(3100,24.75),(3100,24.95),(3197.3,24.95),(3197.3,249.45),(3449.2,249.45),(3449.2,-199.95)],
  [(3400,-200.25),(3400,-200.05),(3449.3,-200.05),(3449.3,249.55),(3197.2,249.55),(3197.2,25.05),(3100,25.05),(3100,25.25),(3197,25.25),(3197,249.75),(3449.5,249.75),(3449.5,-200.25)],
  [(3400,-239.95),(3400,-239.75),(3453.5,-239.75),(3453.5,253.75),(3193,253.75),(3193,39.75),(3100,39.75),(3100,39.95),(3192.8,39.95),(3192.8,253.95),(3453.7,253.95),(3453.7,-239.95)],
  [(3400,-240.25),(3400,-240.05),(3453.8,-240.05),(3453.8,254.05),(3192.7,254.05),(3192.7,40.05),(3100,40.05),(3100,40.25),(3192.5,40.25),(3192.5,254.25),(3454,254.25),(3454,-240.25)],
  [(3400,-279.95),(3400,-279.75),(3458,-279.75),(3458,258.25),(3188.5,258.25),(3188.5,54.75),(3100,54.75),(3100,54.95),(3188.3,54.95),(3188.3,258.45),(3458.2,258.45),(3458.2,-279.95)],
  [(3400,-280.25),(3400,-280.05),(3458.3,-280.05),(3458.3,258.55),(3188.2,258.55),(3188.2,55.05),(3100,55.05),(3100,55.25),(3188,55.25),(3188,258.75),(3458.5,258.75),(3458.5,-280.25)],
  [(3400,-319.95),(3400,-319.75),(3462.5,-319.75),(3462.5,262.75),(3184,262.75),(3184,69.75),(3100,69.75),(3100,69.95),(3183.8,69.95),(3183.8,262.95),(3462.7,262.95),(3462.7,-319.95)],
  [(3400,-320.25),(3400,-320.05),(3462.8,-320.05),(3462.8,263.05),(3183.7,263.05),(3183.7,70.05),(3100,70.05),(3100,70.25),(3183.5,70.25),(3183.5,263.25),(3463,263.25),(3463,-320.25)],
  [(3400,-359.95),(3400,-359.75),(3467,-359.75),(3467,267.25),(3179.5,267.25),(3179.5,84.75),(3100,84.75),(3100,84.95),(3179.3,84.95),(3179.3,267.45),(3467.2,267.45),(3467.2,-359.95)],
  [(3400,-360.25),(3400,-360.05),(3467.3,-360.05),(3467.3,267.55),(3179.2,267.55),(3179.2,85.05),(3100,85.05),(3100,85.25),(3179,85.25),(3179,267.75),(3467.5,267.75),(3467.5,-360.25)],
  [(3400,-399.95),(3400,-399.75),(3471.5,-399.75),(3471.5,271.75),(3050.25,271.75),(3050.25,100),(3050.05,100),(3050.05,271.95),(3471.7,271.95),(3471.7,-399.95)],
  [(3400,-400.25),(3400,-400.05),(3471.8,-400.05),(3471.8,272.05),(3049.95,272.05),(3049.95,100),(3049.75,100),(3049.75,272.25),(3472,272.25),(3472,-400.25)],
  [(3400,-439.95),(3400,-439.75),(3476,-439.75),(3476,276.25),(3035.25,276.25),(3035.25,100),(3035.05,100),(3035.05,276.45),(3476.2,276.45),(3476.2,-439.95)],
  [(3400,-440.25),(3400,-440.05),(3476.3,-440.05),(3476.3,276.55),(3034.95,276.55),(3034.95,100),(3034.75,100),(3034.75,276.75),(3476.5,276.75),(3476.5,-440.25)],
  [(3400,-479.95),(3400,-479.75),(3480.5,-479.75),(3480.5,280.75),(3020.25,280.75),(3020.25,100),(3020.05,100),(3020.05,280.95),(3480.7,280.95),(3480.7,-479.95)],
  [(3400,-480.25),(3400,-480.05),(3480.8,-480.05),(3480.8,281.05),(3019.95,281.05),(3019.95,100),(3019.75,100),(3019.75,281.25),(3481,281.25),(3481,-480.25)],
  [(3400,-519.95),(3400,-519.75),(3485,-519.75),(3485,285.25),(3005.25,285.25),(3005.25,100),(3005.05,100),(3005.05,285.45),(3485.2,285.45),(3485.2,-519.95)],
  [(3400,-520.25),(3400,-520.05),(3485.3,-520.05),(3485.3,285.55),(3004.95,285.55),(3004.95,100),(3004.75,100),(3004.75,285.75),(3485.5,285.75),(3485.5,-520.25)],
  [(3400,-559.95),(3400,-559.75),(3489.5,-559.75),(3489.5,289.75),(2990.25,289.75),(2990.25,100),(2990.05,100),(2990.05,289.95),(3489.7,289.95),(3489.7,-559.95)],
  [(3400,-560.25),(3400,-560.05),(3489.8,-560.05),(3489.8,290.05),(2989.95,290.05),(2989.95,100),(2989.75,100),(2989.75,290.25),(3490,290.25),(3490,-560.25)],
  [(3400,-599.95),(3400,-599.75),(3494,-599.75),(3494,294.25),(2975.25,294.25),(2975.25,100),(2975.05,100),(2975.05,294.45),(3494.2,294.45),(3494.2,-599.95)],
  [(3400,-600.25),(3400,-600.05),(3494.3,-600.05),(3494.3,294.55),(2974.95,294.55),(2974.95,100),(2974.75,100),(2974.75,294.75),(3494.5,294.75),(3494.5,-600.25)],
  [(3400,-639.95),(3400,-639.75),(3498.5,-639.75),(3498.5,298.75),(2960.25,298.75),(2960.25,100),(2960.05,100),(2960.05,298.95),(3498.7,298.95),(3498.7,-639.95)],
  [(3400,-640.25),(3400,-640.05),(3498.8,-640.05),(3498.8,299.05),(2959.95,299.05),(2959.95,100),(2959.75,100),(2959.75,299.25),(3499,299.25),(3499,-640.25)],
  [(3400,-679.95),(3400,-679.75),(3503,-679.75),(3503,303.25),(2945.25,303.25),(2945.25,100),(2945.05,100),(2945.05,303.45),(3503.2,303.45),(3503.2,-679.95)],
  [(3400,-680.25),(3400,-680.05),(3503.3,-680.05),(3503.3,303.55),(2944.95,303.55),(2944.95,100),(2944.75,100),(2944.75,303.75),(3503.5,303.75),(3503.5,-680.25)],
  [(3400,-719.95),(3400,-719.75),(3507.5,-719.75),(3507.5,307.75),(2930.25,307.75),(2930.25,100),(2930.05,100),(2930.05,307.95),(3507.7,307.95),(3507.7,-719.95)],
  [(3400,-720.25),(3400,-720.05),(3507.8,-720.05),(3507.8,308.05),(2929.95,308.05),(2929.95,100),(2929.75,100),(2929.75,308.25),(3508,308.25),(3508,-720.25)],
  [(3400,-759.95),(3400,-759.75),(3512,-759.75),(3512,312.25),(2915.25,312.25),(2915.25,100),(2915.05,100),(2915.05,312.45),(3512.2,312.45),(3512.2,-759.95)],
  [(3400,-760.25),(3400,-760.05),(3512.3,-760.05),(3512.3,312.55),(2914.95,312.55),(2914.95,100),(2914.75,100),(2914.75,312.75),(3512.5,312.75),(3512.5,-760.25)])
R(test_smart_routing_start, FLOORPLAN, [(-175,-175,175,175), (2825,-175,3175,175), (-175,2825,175,3175), (2825,2825,3175,3175)])
P(test_smart_routing_start, FLOORPLAN, [(-400,-200),(-400,760),(-400,760),(-400,-200)],
  [(-760,2600),(-760,2600),(200,2600),(200,2600)],
  [(3400,-760),(3400,200),(3400,200),(3400,-760)],
  [(2800,3400),(2800,3400),(3760,3400),(3760,3400)])

lib.write_gds('test_smart_routing_start_bboxTrue_sort_portsFalse_indirectTrue_start_angle-2m2True_m1False_zTrue_p1True_p2False.gds')
